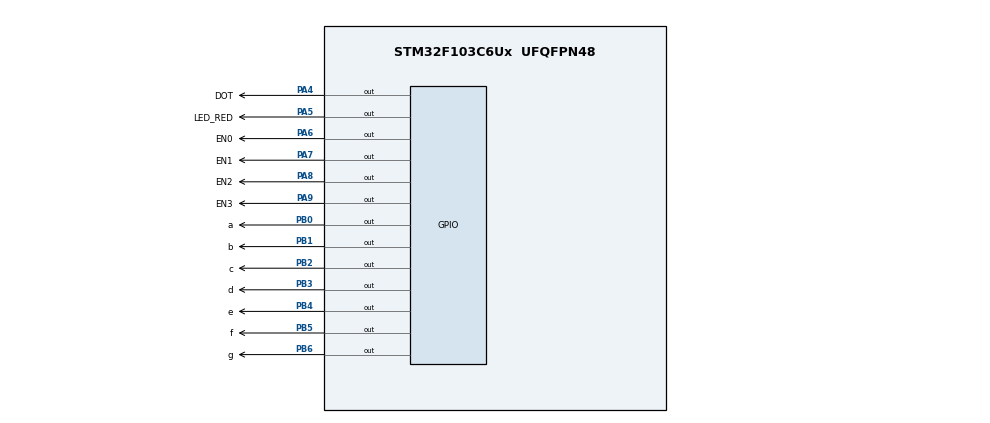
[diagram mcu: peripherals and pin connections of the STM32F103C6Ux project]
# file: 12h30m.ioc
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Mcu.Family=STM32F1
Mcu.Name=STM32F103C6Ux
Mcu.Package=UFQFPN48
NVIC.PriorityGroup=NVIC_PRIORITYGROUP_4
NVIC.TIM2_IRQn=true\:0\:0\:false\:false\:true\:true\:true
PA4.GPIO_Label=DOT
PA4.Signal=GPIO_Output
PA5.GPIO_Label=LED_RED
PA5.Signal=GPIO_Output
PA6.GPIO_Label=EN0
PA6.Signal=GPIO_Output
PA7.GPIO_Label=EN1
PA7.Signal=GPIO_Output
PA8.GPIO_Label=EN2
PA8.Signal=GPIO_Output
PA9.GPIO_Label=EN3
PA9.Signal=GPIO_Output
PB0.GPIO_Label=a
PB0.Signal=GPIO_Output
PB1.GPIO_Label=b
PB1.Signal=GPIO_Output
PB2.GPIO_Label=c
PB2.Signal=GPIO_Output
PB3.GPIO_Label=d
PB3.Signal=GPIO_Output
PB4.GPIO_Label=e
PB4.Signal=GPIO_Output
PB5.GPIO_Label=f
PB5.Signal=GPIO_Output
PB6.GPIO_Label=g
PB6.Signal=GPIO_Output
ProjectManager.HeapSize=0x200
ProjectManager.StackSize=0x400
ProjectManager.TargetToolchain=STM32CubeIDE
RCC.APB1Freq_Value=8000000
RCC.APB2Freq_Value=8000000
TIM2.Period=9
TIM2.Prescaler=7999
VP_SYS_VS_ND.Mode=No_Debug
VP_TIM2_VS_ClockSourceINT.Mode=Internal
board=custom

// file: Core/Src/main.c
/* USER CODE BEGIN Header */
/**
  ******************************************************************************
  * @file           : main.c
  * @brief          : Main program body
  ******************************************************************************
  * @attention
  *
  * <h2><center>&copy; Copyright (c) 2022 STMicroelectronics.
  * All rights reserved.</center></h2>
  *
  * This software component is licensed by ST under BSD 3-Clause license,
  * the "License"; You may not use this file except in compliance with the
  * License. You may obtain a copy of the License at:
  *                        opensource.org/licenses/BSD-3-Clause
  *
  ******************************************************************************
  */
/* USER CODE END Header */
#include "main.h"

TIM_HandleTypeDef htim2;

void SystemClock_Config(void);
static void MX_GPIO_Init(void);
static void MX_TIM2_Init(void);

int main(void)
{

  /* MCU Configuration--------------------------------------------------------*/

  /* Reset of all peripherals, Initializes the Flash interface and the Systick. */
  HAL_Init();

  /* Configure the system clock */
  SystemClock_Config();

  /* Initialize all configured peripherals */
  MX_GPIO_Init();
  MX_TIM2_Init();
  /* USER CODE BEGIN 2 */
  HAL_TIM_Base_Start_IT(&htim2);
  void display7segment(int num);
  /* USER CODE END 2 */

  /* Infinite loop */
  while (1)
  {

  }
}

void SystemClock_Config(void)
{
  RCC_OscInitTypeDef RCC_OscInitStruct = {0};
  RCC_ClkInitTypeDef RCC_ClkInitStruct = {0};

  /** Initializes the RCC Oscillators according to the specified parameters
  * in the RCC_OscInitTypeDef structure.
  */
  RCC_OscInitStruct.OscillatorType = RCC_OSCILLATORTYPE_HSI;
  RCC_OscInitStruct.HSIState = RCC_HSI_ON;
  RCC_OscInitStruct.HSICalibrationValue = RCC_HSICALIBRATION_DEFAULT;
  RCC_OscInitStruct.PLL.PLLState = RCC_PLL_NONE;
  if (HAL_RCC_OscConfig(&RCC_OscInitStruct) != HAL_OK)
  {
    Error_Handler();
  }
  /** Initializes the CPU, AHB and APB buses clocks
  */
  RCC_ClkInitStruct.ClockType = RCC_CLOCKTYPE_HCLK|RCC_CLOCKTYPE_SYSCLK
                              |RCC_CLOCKTYPE_PCLK1|RCC_CLOCKTYPE_PCLK2;
  RCC_ClkInitStruct.SYSCLKSource = RCC_SYSCLKSOURCE_HSI;
  RCC_ClkInitStruct.AHBCLKDivider = RCC_SYSCLK_DIV1;
  RCC_ClkInitStruct.APB1CLKDivider = RCC_HCLK_DIV1;
  RCC_ClkInitStruct.APB2CLKDivider = RCC_HCLK_DIV1;

  if (HAL_RCC_ClockConfig(&RCC_ClkInitStruct, FLASH_LATENCY_0) != HAL_OK)
  {
    Error_Handler();
  }
}

static void MX_TIM2_Init(void)
{

  TIM_ClockConfigTypeDef sClockSourceConfig = {0};
  TIM_MasterConfigTypeDef sMasterConfig = {0};

  htim2.Instance = TIM2;
  htim2.Init.Prescaler = 7999;
  htim2.Init.CounterMode = TIM_COUNTERMODE_UP;
  htim2.Init.Period = 9;
  htim2.Init.ClockDivision = TIM_CLOCKDIVISION_DIV1;
  htim2.Init.AutoReloadPreload = TIM_AUTORELOAD_PRELOAD_DISABLE;
  if (HAL_TIM_Base_Init(&htim2) != HAL_OK)
  {
    Error_Handler();
  }
  sClockSourceConfig.ClockSource = TIM_CLOCKSOURCE_INTERNAL;
  if (HAL_TIM_ConfigClockSource(&htim2, &sClockSourceConfig) != HAL_OK)
  {
    Error_Handler();
  }
  sMasterConfig.MasterOutputTrigger = TIM_TRGO_RESET;
  sMasterConfig.MasterSlaveMode = TIM_MASTERSLAVEMODE_DISABLE;
  if (HAL_TIMEx_MasterConfigSynchronization(&htim2, &sMasterConfig) != HAL_OK)
  {
    Error_Handler();
  }

}

static void MX_GPIO_Init(void)
{
  GPIO_InitTypeDef GPIO_InitStruct = {0};

  /* GPIO Ports Clock Enable */
  __HAL_RCC_GPIOA_CLK_ENABLE();
  __HAL_RCC_GPIOB_CLK_ENABLE();

  /*Configure GPIO pin Output Level */
  HAL_GPIO_WritePin(GPIOA, DOT_Pin|LED_RED_Pin|EN0_Pin|EN1_Pin
                          |EN2_Pin|EN3_Pin, GPIO_PIN_RESET);

  /*Configure GPIO pin Output Level */
  HAL_GPIO_WritePin(GPIOB, a_Pin|b_Pin|c_Pin|d_Pin
                          |e_Pin|f_Pin|g_Pin, GPIO_PIN_RESET);

  /*Configure GPIO pins : DOT_Pin LED_RED_Pin EN0_Pin EN1_Pin
                           EN2_Pin EN3_Pin */
  GPIO_InitStruct.Pin = DOT_Pin|LED_RED_Pin|EN0_Pin|EN1_Pin
                          |EN2_Pin|EN3_Pin;
  GPIO_InitStruct.Mode = GPIO_MODE_OUTPUT_PP;
  GPIO_InitStruct.Pull = GPIO_NOPULL;
  GPIO_InitStruct.Speed = GPIO_SPEED_FREQ_LOW;
  HAL_GPIO_Init(GPIOA, &GPIO_InitStruct);

  /*Configure GPIO pins : a_Pin b_Pin c_Pin d_Pin
                           e_Pin f_Pin g_Pin */
  GPIO_InitStruct.Pin = a_Pin|b_Pin|c_Pin|d_Pin
                          |e_Pin|f_Pin|g_Pin;
  GPIO_InitStruct.Mode = GPIO_MODE_OUTPUT_PP;
  GPIO_InitStruct.Pull = GPIO_NOPULL;
  GPIO_InitStruct.Speed = GPIO_SPEED_FREQ_LOW;
  HAL_GPIO_Init(GPIOB, &GPIO_InitStruct);

}

/* USER CODE BEGIN 4 */
void display7segment(int num){
	if (num == 0){ /*Implement 0 on 7-segment led*/
		HAL_GPIO_WritePin(a_GPIO_Port, a_Pin, RESET);
		HAL_GPIO_WritePin(b_GPIO_Port, b_Pin, RESET);
		HAL_GPIO_WritePin(c_GPIO_Port, c_Pin, RESET);
		HAL_GPIO_WritePin(d_GPIO_Port, d_Pin, RESET);
		HAL_GPIO_WritePin(e_GPIO_Port, e_Pin, RESET);
		HAL_GPIO_WritePin(f_GPIO_Port, f_Pin, RESET);
		HAL_GPIO_WritePin(g_GPIO_Port, g_Pin, SET);
	}
	if (num == 1){/*Implement 1 on 7-segment led*/
		HAL_GPIO_WritePin(a_GPIO_Port, a_Pin, SET);
		HAL_GPIO_WritePin(b_GPIO_Port, b_Pin, RESET);
		HAL_GPIO_WritePin(c_GPIO_Port, c_Pin, RESET);
		HAL_GPIO_WritePin(d_GPIO_Port, d_Pin, SET);
		HAL_GPIO_WritePin(e_GPIO_Port, e_Pin, SET);
		HAL_GPIO_WritePin(f_GPIO_Port, f_Pin, SET);
		HAL_GPIO_WritePin(g_GPIO_Port, g_Pin, SET);
	}
	if (num == 2){ /*Implement 2 on 7-segment led*/
		HAL_GPIO_WritePin(a_GPIO_Port, a_Pin, RESET);
		HAL_GPIO_WritePin(b_GPIO_Port, b_Pin, RESET);
		HAL_GPIO_WritePin(c_GPIO_Port, c_Pin, SET);
		HAL_GPIO_WritePin(d_GPIO_Port, d_Pin, RESET);
		HAL_GPIO_WritePin(e_GPIO_Port, e_Pin, RESET);
		HAL_GPIO_WritePin(f_GPIO_Port, f_Pin, SET);
		HAL_GPIO_WritePin(g_GPIO_Port, g_Pin, RESET);
	}
	if (num == 3){ /*Implement 3 on 7-segment led*/
		HAL_GPIO_WritePin(a_GPIO_Port, a_Pin, RESET);
		HAL_GPIO_WritePin(b_GPIO_Port, b_Pin, RESET);
		HAL_GPIO_WritePin(c_GPIO_Port, c_Pin, RESET);
		HAL_GPIO_WritePin(d_GPIO_Port, d_Pin, RESET);
		HAL_GPIO_WritePin(e_GPIO_Port, e_Pin, SET);
		HAL_GPIO_WritePin(f_GPIO_Port, f_Pin, SET);
		HAL_GPIO_WritePin(g_GPIO_Port, g_Pin, RESET);
	}
	if (num == 4){ /*Implement 4 on 7-segment led*/
		HAL_GPIO_WritePin(a_GPIO_Port, a_Pin, SET);
		HAL_GPIO_WritePin(b_GPIO_Port, b_Pin, RESET);
		HAL_GPIO_WritePin(c_GPIO_Port, c_Pin, RESET);
		HAL_GPIO_WritePin(d_GPIO_Port, d_Pin, SET);
		HAL_GPIO_WritePin(e_GPIO_Port, e_Pin, SET);
		HAL_GPIO_WritePin(f_GPIO_Port, f_Pin, RESET);
		HAL_GPIO_WritePin(g_GPIO_Port, g_Pin, RESET);
	}
	if (num == 5){ /*Implement 5 on 7-segment led*/
		HAL_GPIO_WritePin(a_GPIO_Port, a_Pin, RESET);
		HAL_GPIO_WritePin(b_GPIO_Port, b_Pin, SET);
		HAL_GPIO_WritePin(c_GPIO_Port, c_Pin, RESET);
		HAL_GPIO_WritePin(d_GPIO_Port, d_Pin, RESET);
		HAL_GPIO_WritePin(e_GPIO_Port, e_Pin, SET);
		HAL_GPIO_WritePin(f_GPIO_Port, f_Pin, RESET);
		HAL_GPIO_WritePin(g_GPIO_Port, g_Pin, RESET);
	}
	if (num == 6){ /*Implement 6 on 7-segment led*/
		HAL_GPIO_WritePin(a_GPIO_Port, a_Pin, RESET);
		HAL_GPIO_WritePin(b_GPIO_Port, b_Pin, SET);
		HAL_GPIO_WritePin(c_GPIO_Port, c_Pin, RESET);
		HAL_GPIO_WritePin(d_GPIO_Port, d_Pin, RESET);
		HAL_GPIO_WritePin(e_GPIO_Port, e_Pin, RESET);
		HAL_GPIO_WritePin(f_GPIO_Port, f_Pin, RESET);
		HAL_GPIO_WritePin(g_GPIO_Port, g_Pin, RESET);
	}
	if (num == 7){ /*Implement 7 on 7-segment led*/
		HAL_GPIO_WritePin(a_GPIO_Port, a_Pin, RESET);
		HAL_GPIO_WritePin(b_GPIO_Port, b_Pin, RESET);
		HAL_GPIO_WritePin(c_GPIO_Port, c_Pin, RESET);
		HAL_GPIO_WritePin(d_GPIO_Port, d_Pin, SET);
		HAL_GPIO_WritePin(e_GPIO_Port, e_Pin, SET);
		HAL_GPIO_WritePin(f_GPIO_Port, f_Pin, SET);
		HAL_GPIO_WritePin(g_GPIO_Port, g_Pin, SET);
	}
	if (num == 8){ /*Implement 8 on 7-segment led*/
		HAL_GPIO_WritePin(a_GPIO_Port, a_Pin, RESET);
		HAL_GPIO_WritePin(b_GPIO_Port, b_Pin, RESET);
		HAL_GPIO_WritePin(c_GPIO_Port, c_Pin, RESET);
		HAL_GPIO_WritePin(d_GPIO_Port, d_Pin, RESET);
		HAL_GPIO_WritePin(e_GPIO_Port, e_Pin, RESET);
		HAL_GPIO_WritePin(f_GPIO_Port, f_Pin, RESET);
		HAL_GPIO_WritePin(g_GPIO_Port, g_Pin, RESET);
	}
	if (num == 9){ /*Implement 9 on 7-segment led*/
		HAL_GPIO_WritePin(a_GPIO_Port, a_Pin, RESET);
		HAL_GPIO_WritePin(b_GPIO_Port, b_Pin, RESET);
		HAL_GPIO_WritePin(c_GPIO_Port, c_Pin, RESET);
		HAL_GPIO_WritePin(d_GPIO_Port, d_Pin, RESET);
		HAL_GPIO_WritePin(e_GPIO_Port, e_Pin, SET);
		HAL_GPIO_WritePin(f_GPIO_Port, f_Pin, RESET);
		HAL_GPIO_WritePin(g_GPIO_Port, g_Pin, RESET);
	}
}
int counter = 50;
int status = 1; //Choose 7SEG to turn on
int dot = 0; //Check 1000ms to toggle DOT
void HAL_TIM_PeriodElapsedCallback(TIM_HandleTypeDef*htim){
	counter--;
	if(counter <= 0) {
		counter = 50;
		//TODO
		dot++;
		if (dot >=2) { //Enough 1000ms
			HAL_GPIO_TogglePin(DOT_GPIO_Port, DOT_Pin);
			dot = 0;
		} else {
			dot++;
		}
		switch(status){
		case 1: //Turn on first 7SEG
			HAL_GPIO_WritePin(EN0_GPIO_Port, EN0_Pin, RESET);
			HAL_GPIO_WritePin(EN1_GPIO_Port, EN1_Pin, SET);
			HAL_GPIO_WritePin(EN2_GPIO_Port, EN2_Pin, SET);
			HAL_GPIO_WritePin(EN3_GPIO_Port, EN3_Pin, SET);
			display7segment(1);
			status = 2;
			break;
		case 2: //Turn on second 7SEG
			HAL_GPIO_WritePin(EN0_GPIO_Port, EN0_Pin, SET);
			HAL_GPIO_WritePin(EN1_GPIO_Port, EN1_Pin, RESET);
			HAL_GPIO_WritePin(EN2_GPIO_Port, EN2_Pin, SET);
			HAL_GPIO_WritePin(EN3_GPIO_Port, EN3_Pin, SET);
			display7segment(2);
			status = 3;
			break;
		case 3: //Turn on third 7SEG
			HAL_GPIO_WritePin(EN0_GPIO_Port, EN0_Pin, SET);
			HAL_GPIO_WritePin(EN1_GPIO_Port, EN1_Pin, SET);
			HAL_GPIO_WritePin(EN2_GPIO_Port, EN2_Pin, RESET);
			HAL_GPIO_WritePin(EN3_GPIO_Port, EN3_Pin, SET);
			display7segment(3);
			status = 4;
			break;
		case 4: //Turn on fourth 7SEG
			HAL_GPIO_WritePin(EN0_GPIO_Port, EN0_Pin, SET);
			HAL_GPIO_WritePin(EN1_GPIO_Port, EN1_Pin, SET);
			HAL_GPIO_WritePin(EN2_GPIO_Port, EN2_Pin, SET);
			HAL_GPIO_WritePin(EN3_GPIO_Port, EN3_Pin, RESET);
			display7segment(0);
			status = 1;
			break;
		default:
			break;
		}
	}
}
/* USER CODE END 4 */

void Error_Handler(void)
{
  __disable_irq();
  while (1)
  {
  }
}

/************************ (C) COPYRIGHT STMicroelectronics *****END OF FILE****/
